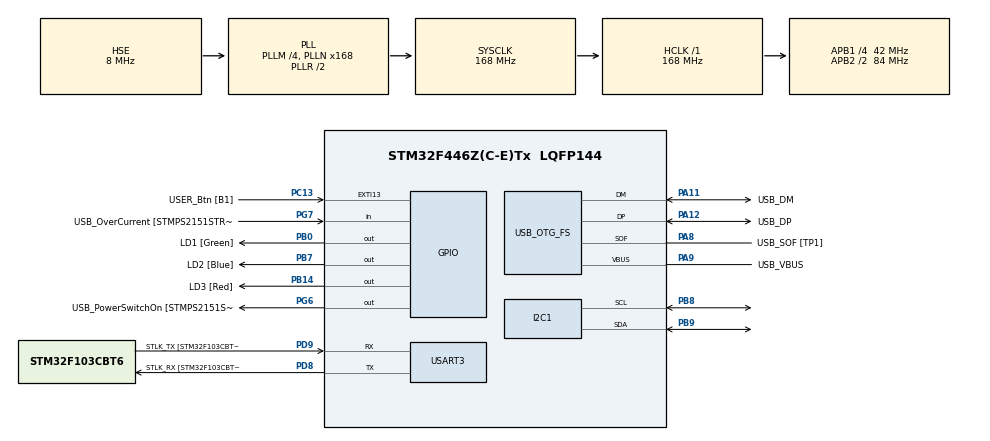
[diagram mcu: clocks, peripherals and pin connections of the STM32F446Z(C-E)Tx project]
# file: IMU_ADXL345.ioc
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I2C1.I2C_Mode=I2C_Fast
I2C1.OwnAddress=0x53
Mcu.Family=STM32F4
Mcu.Name=STM32F446Z(C-E)Tx
Mcu.Package=LQFP144
NVIC.PriorityGroup=NVIC_PRIORITYGROUP_4
PA10.GPIO_Label=USB_ID
PA10.Signal=USB_OTG_FS_ID
PA11.GPIO_Label=USB_DM
PA11.Mode=Device_Only
PA11.Signal=USB_OTG_FS_DM
PA12.GPIO_Label=USB_DP
PA12.Mode=Device_Only
PA12.Signal=USB_OTG_FS_DP
PA13.GPIO_Label=TMS
PA13.Mode=Serial_Wire
PA13.Signal=SYS_JTMS-SWDIO
PA14.GPIO_Label=TCK
PA14.Mode=Serial_Wire
PA14.Signal=SYS_JTCK-SWCLK
PA8.GPIO_Label=USB_SOF [TP1]
PA8.Mode=Activate_SOF_FS
PA8.Signal=USB_OTG_FS_SOF
PA9.GPIO_Label=USB_VBUS
PA9.Mode=Activate_VBUS
PA9.Signal=USB_OTG_FS_VBUS
PB0.GPIO_Label=LD1 [Green]
PB0.Signal=GPIO_Output
PB14.GPIO_Label=LD3 [Red]
PB14.Signal=GPIO_Output
PB7.GPIO_Label=LD2 [Blue]
PB7.Signal=GPIO_Output
PB8.Mode=I2C
PB8.Signal=I2C1_SCL
PB9.Mode=I2C
PB9.Signal=I2C1_SDA
PC13.GPIO_Label=USER_Btn [B1]
PC13.Signal=GPXTI13
PC14-OSC32_IN.Mode=LSE-External-Oscillator
PC14-OSC32_IN.Signal=RCC_OSC32_IN
PC15-OSC32_OUT.Mode=LSE-External-Oscillator
PC15-OSC32_OUT.Signal=RCC_OSC32_OUT
PD8.GPIO_Label=STLK_RX [STM32F103CBT6_PA3]
PD8.Mode=Asynchronous
PD8.Signal=USART3_TX
PD9.GPIO_Label=STLK_TX [STM32F103CBT6_PA2]
PD9.Mode=Asynchronous
PD9.Signal=USART3_RX
PG6.GPIO_Label=USB_PowerSwitchOn [STMPS2151STR_EN]
PG6.Signal=GPIO_Output
PG7.GPIO_Label=USB_OverCurrent [STMPS2151STR_FAULT]
PG7.Signal=GPIO_Input
PH0-OSC_IN.GPIO_Label=MCO [STM32F103CBT6_PA8]
PH0-OSC_IN.Mode=HSE-External-Clock-Source
PH0-OSC_IN.Signal=RCC_OSC_IN
PH1-OSC_OUT.Mode=HSE-External-Clock-Source
PH1-OSC_OUT.Signal=RCC_OSC_OUT
ProjectManager.HeapSize=0x200
ProjectManager.StackSize=0x400
ProjectManager.TargetToolchain=STM32CubeIDE
RCC.48MHZClocksFreq_Value=24000000
RCC.AHBFreq_Value=168000000
RCC.APB1CLKDivider=RCC_HCLK_DIV4
RCC.APB1Freq_Value=42000000
RCC.APB1TimFreq_Value=84000000
RCC.APB2CLKDivider=RCC_HCLK_DIV2
RCC.APB2Freq_Value=84000000
RCC.APB2TimFreq_Value=168000000
RCC.CortexFreq_Value=168000000
RCC.HCLKFreq_Value=168000000
RCC.HSE_VALUE=8000000
RCC.HSI_VALUE=16000000
RCC.PLLM=4
RCC.PLLMUL=RCC_PLL_MUL9
RCC.PLLN=168
RCC.PLLQ=7
RCC.PRESCALERUSB=RCC_USBCLKSOURCE_PLL_DIV1_5
RCC.SYSCLKFreq_VALUE=168000000
RCC.SYSCLKSource=RCC_SYSCLKSOURCE_PLLRCLK
RCC.SYSCLKSourceVirtual=RCC_SYSCLKSOURCE_PLLCLK
RCC.USBFreq_Value=48000000
RCC.VCOOutputFreq_Value=336000000
USART3.VirtualMode=VM_ASYNC
USB_OTG_FS.VirtualMode=Device_Only
board=NUCLEO-F446ZE

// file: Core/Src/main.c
/* USER CODE BEGIN Header */
/**
 ******************************************************************************
 * @file           : main.c
 * @brief          : Main program body
 ******************************************************************************
 * @attention
 *
 * Copyright (c) 2023 STMicroelectronics.
 * All rights reserved.
 *
 * This software is licensed under terms that can be found in the LICENSE file
 * in the root directory of this software component.
 * If no LICENSE file comes with this software, it is provided AS-IS.
 *
 ******************************************************************************
 */
/* USER CODE END Header */
#include "main.h"

/* USER CODE BEGIN Includes */
#include <stdio.h>
/* USER CODE END Includes */

/* USER CODE BEGIN PD */
//ADXL345
#define ADXL345 0x53
#define PWR_CTL 0x2D
#define DEVID_REG 0x00
#define MEA_MODE 0x08
#define DATAX0 0x32
#define DATAX1 0x33
#define DATAY0 0x34
#define DATAY1 0x35
#define DATAZ0 0x36
#define DATAZ1 0x37
/* USER CODE END PD */

I2C_HandleTypeDef hi2c1;

UART_HandleTypeDef huart3;

PCD_HandleTypeDef hpcd_USB_OTG_FS;

/* USER CODE BEGIN PV */
#ifdef __GNUC__
#define PUTCHAR_PROTOTYPE int __io_putchar(int ch)
#else
#define PUTCHAR_PROTOTYPE int fputc(int ch, FILE *f)
#endif

PUTCHAR_PROTOTYPE {
	HAL_UART_Transmit(&huart3, (uint8_t*) &ch, 1, HAL_MAX_DELAY);
	return ch;
}
uint16_t address = 0;
uint8_t buf_tx[12];
uint8_t buf_rx[12];
uint8_t DEVID = 0;
/*
 *
 /* USER CODE END PV */

void SystemClock_Config(void);
static void MX_GPIO_Init(void);
static void MX_USART3_UART_Init(void);
static void MX_USB_OTG_FS_PCD_Init(void);
static void MX_I2C1_Init(void);

/* USER CODE BEGIN PFP */
HAL_StatusTypeDef ReadReg(I2C_HandleTypeDef i2c_hdl, uint16_t address,
		uint8_t reg, uint8_t *pdata, uint16_t len);
HAL_StatusTypeDef initADXL345(I2C_HandleTypeDef i2c_hdl, uint16_t address);
/* USER CODE END PFP */

int main(void) {

	/* MCU Configuration--------------------------------------------------------*/

	/* Reset of all peripherals, Initializes the Flash interface and the Systick. */
	HAL_Init();

	/* Configure the system clock */
	SystemClock_Config();

	/* Initialize all configured peripherals */
	MX_GPIO_Init();
	MX_USART3_UART_Init();
	MX_USB_OTG_FS_PCD_Init();
	MX_I2C1_Init();
	/* USER CODE BEGIN 2 */
	printf("ADX345 example version 1.0.0\r\n");

	address = ((uint16_t) ADXL345<<1);
	initADXL345(hi2c1, address);
	/* USER CODE END 2 */

	/* Infinite loop */
	while (1) {

		/* USER CODE BEGIN 3 */
		ReadReg(hi2c1, address, (uint8_t) DATAX0, buf_rx, 2);
		int DATAX = (((int) buf_rx[1]) << 8) | (int) buf_rx[0];
		float datax = DATAX / 256.0;
		printf("DEVID: %02x %02x %02x %f \r\n", DEVID, buf_rx[1], buf_rx[0],datax);

	}

	/* USER CODE END 3 */
}

void SystemClock_Config(void) {
	RCC_OscInitTypeDef RCC_OscInitStruct = { 0 };
	RCC_ClkInitTypeDef RCC_ClkInitStruct = { 0 };

	/** Configure the main internal regulator output voltage
	 */
	__HAL_RCC_PWR_CLK_ENABLE();
	__HAL_PWR_VOLTAGESCALING_CONFIG(PWR_REGULATOR_VOLTAGE_SCALE1);

	/** Initializes the RCC Oscillators according to the specified parameters
	 * in the RCC_OscInitTypeDef structure.
	 */
	RCC_OscInitStruct.OscillatorType = RCC_OSCILLATORTYPE_HSE;
	RCC_OscInitStruct.HSEState = RCC_HSE_BYPASS;
	RCC_OscInitStruct.PLL.PLLState = RCC_PLL_ON;
	RCC_OscInitStruct.PLL.PLLSource = RCC_PLLSOURCE_HSE;
	RCC_OscInitStruct.PLL.PLLM = 4;
	RCC_OscInitStruct.PLL.PLLN = 168;
	RCC_OscInitStruct.PLL.PLLP = RCC_PLLP_DIV2;
	RCC_OscInitStruct.PLL.PLLQ = 7;
	RCC_OscInitStruct.PLL.PLLR = 2;
	if (HAL_RCC_OscConfig(&RCC_OscInitStruct) != HAL_OK) {
		Error_Handler();
	}

	/** Initializes the CPU, AHB and APB buses clocks
	 */
	RCC_ClkInitStruct.ClockType = RCC_CLOCKTYPE_HCLK | RCC_CLOCKTYPE_SYSCLK
			| RCC_CLOCKTYPE_PCLK1 | RCC_CLOCKTYPE_PCLK2;
	RCC_ClkInitStruct.SYSCLKSource = RCC_SYSCLKSOURCE_PLLRCLK;
	RCC_ClkInitStruct.AHBCLKDivider = RCC_SYSCLK_DIV1;
	RCC_ClkInitStruct.APB1CLKDivider = RCC_HCLK_DIV4;
	RCC_ClkInitStruct.APB2CLKDivider = RCC_HCLK_DIV2;

	if (HAL_RCC_ClockConfig(&RCC_ClkInitStruct, FLASH_LATENCY_5) != HAL_OK) {
		Error_Handler();
	}
}

static void MX_I2C1_Init(void) {

	hi2c1.Instance = I2C1;
	hi2c1.Init.ClockSpeed = 400000;
	hi2c1.Init.DutyCycle = I2C_DUTYCYCLE_2;
	hi2c1.Init.OwnAddress1 = 166;
	hi2c1.Init.AddressingMode = I2C_ADDRESSINGMODE_7BIT;
	hi2c1.Init.DualAddressMode = I2C_DUALADDRESS_DISABLE;
	hi2c1.Init.OwnAddress2 = 0;
	hi2c1.Init.GeneralCallMode = I2C_GENERALCALL_DISABLE;
	hi2c1.Init.NoStretchMode = I2C_NOSTRETCH_DISABLE;
	if (HAL_I2C_Init(&hi2c1) != HAL_OK) {
		Error_Handler();
	}

}

static void MX_USART3_UART_Init(void) {

	huart3.Instance = USART3;
	huart3.Init.BaudRate = 115200;
	huart3.Init.WordLength = UART_WORDLENGTH_8B;
	huart3.Init.StopBits = UART_STOPBITS_1;
	huart3.Init.Parity = UART_PARITY_NONE;
	huart3.Init.Mode = UART_MODE_TX_RX;
	huart3.Init.HwFlowCtl = UART_HWCONTROL_NONE;
	huart3.Init.OverSampling = UART_OVERSAMPLING_16;
	if (HAL_UART_Init(&huart3) != HAL_OK) {
		Error_Handler();
	}

}

static void MX_USB_OTG_FS_PCD_Init(void) {

	hpcd_USB_OTG_FS.Instance = USB_OTG_FS;
	hpcd_USB_OTG_FS.Init.dev_endpoints = 6;
	hpcd_USB_OTG_FS.Init.speed = PCD_SPEED_FULL;
	hpcd_USB_OTG_FS.Init.dma_enable = DISABLE;
	hpcd_USB_OTG_FS.Init.phy_itface = PCD_PHY_EMBEDDED;
	hpcd_USB_OTG_FS.Init.Sof_enable = ENABLE;
	hpcd_USB_OTG_FS.Init.low_power_enable = DISABLE;
	hpcd_USB_OTG_FS.Init.lpm_enable = DISABLE;
	hpcd_USB_OTG_FS.Init.vbus_sensing_enable = ENABLE;
	hpcd_USB_OTG_FS.Init.use_dedicated_ep1 = DISABLE;
	if (HAL_PCD_Init(&hpcd_USB_OTG_FS) != HAL_OK) {
		Error_Handler();
	}

}

static void MX_GPIO_Init(void) {
	GPIO_InitTypeDef GPIO_InitStruct = { 0 };

	/* GPIO Ports Clock Enable */
	__HAL_RCC_GPIOC_CLK_ENABLE();
	__HAL_RCC_GPIOH_CLK_ENABLE();
	__HAL_RCC_GPIOB_CLK_ENABLE();
	__HAL_RCC_GPIOD_CLK_ENABLE();
	__HAL_RCC_GPIOG_CLK_ENABLE();
	__HAL_RCC_GPIOA_CLK_ENABLE();

	/*Configure GPIO pin Output Level */
	HAL_GPIO_WritePin(GPIOB, LD1_Pin | LD3_Pin | LD2_Pin, GPIO_PIN_RESET);

	/*Configure GPIO pin Output Level */
	HAL_GPIO_WritePin(USB_PowerSwitchOn_GPIO_Port, USB_PowerSwitchOn_Pin,
			GPIO_PIN_RESET);

	/*Configure GPIO pin : USER_Btn_Pin */
	GPIO_InitStruct.Pin = USER_Btn_Pin;
	GPIO_InitStruct.Mode = GPIO_MODE_IT_RISING;
	GPIO_InitStruct.Pull = GPIO_NOPULL;
	HAL_GPIO_Init(USER_Btn_GPIO_Port, &GPIO_InitStruct);

	/*Configure GPIO pins : LD1_Pin LD3_Pin LD2_Pin */
	GPIO_InitStruct.Pin = LD1_Pin | LD3_Pin | LD2_Pin;
	GPIO_InitStruct.Mode = GPIO_MODE_OUTPUT_PP;
	GPIO_InitStruct.Pull = GPIO_NOPULL;
	GPIO_InitStruct.Speed = GPIO_SPEED_FREQ_LOW;
	HAL_GPIO_Init(GPIOB, &GPIO_InitStruct);

	/*Configure GPIO pin : USB_PowerSwitchOn_Pin */
	GPIO_InitStruct.Pin = USB_PowerSwitchOn_Pin;
	GPIO_InitStruct.Mode = GPIO_MODE_OUTPUT_PP;
	GPIO_InitStruct.Pull = GPIO_NOPULL;
	GPIO_InitStruct.Speed = GPIO_SPEED_FREQ_LOW;
	HAL_GPIO_Init(USB_PowerSwitchOn_GPIO_Port, &GPIO_InitStruct);

	/*Configure GPIO pin : USB_OverCurrent_Pin */
	GPIO_InitStruct.Pin = USB_OverCurrent_Pin;
	GPIO_InitStruct.Mode = GPIO_MODE_INPUT;
	GPIO_InitStruct.Pull = GPIO_NOPULL;
	HAL_GPIO_Init(USB_OverCurrent_GPIO_Port, &GPIO_InitStruct);

}

/* USER CODE BEGIN 4 */
HAL_StatusTypeDef initADXL345(I2C_HandleTypeDef i2c_hdl, uint16_t address) {
	buf_tx[0] = PWR_CTL; //register
	buf_tx[1] = MEA_MODE; //measurement mode
	HAL_StatusTypeDef ret ;

	//HAL_StatusTypeDef ret = HAL_I2C_Master_Transmit(&i2c_hdl, address,(uint8_t*) buf_tx, 2, 1000);
	ret = HAL_I2C_Mem_Write(&i2c_hdl, address, (uint8_t) PWR_CTL, 1,&buf_tx[1], 1, 1000);
	if (ret != HAL_OK)
		printf("ERROR PWRCTL\n");

	//ret = HAL_I2C_Master_Transmit(&i2c_hdl, address, 0x00, 1, 1000);
	ret = HAL_I2C_Mem_Read(&i2c_hdl, address, (uint8_t) DEVID_REG, 1, &DEVID, 1,
			1000);
	if (ret != HAL_OK) {
		printf("Ups no measurement mode enabled sent\n");
	}
	//HAL_I2C_Master_Receive(&i2c_hdl, address, &DEVID, 1, 1000);

	printf("DEV ID: (E5) %02x \r\n", DEVID);
	return ret;
}
HAL_StatusTypeDef ReadReg(I2C_HandleTypeDef i2c_hdl, uint16_t address,
		uint8_t reg, uint8_t *pdata, uint16_t len) {

	HAL_StatusTypeDef ret;
	ret = HAL_I2C_Mem_Read(&i2c_hdl, address,reg, 1, pdata, len,1000);

	return ret;
}
/* USER CODE END 4 */

void Error_Handler(void) {
	__disable_irq();
	while (1) {
	}
}
